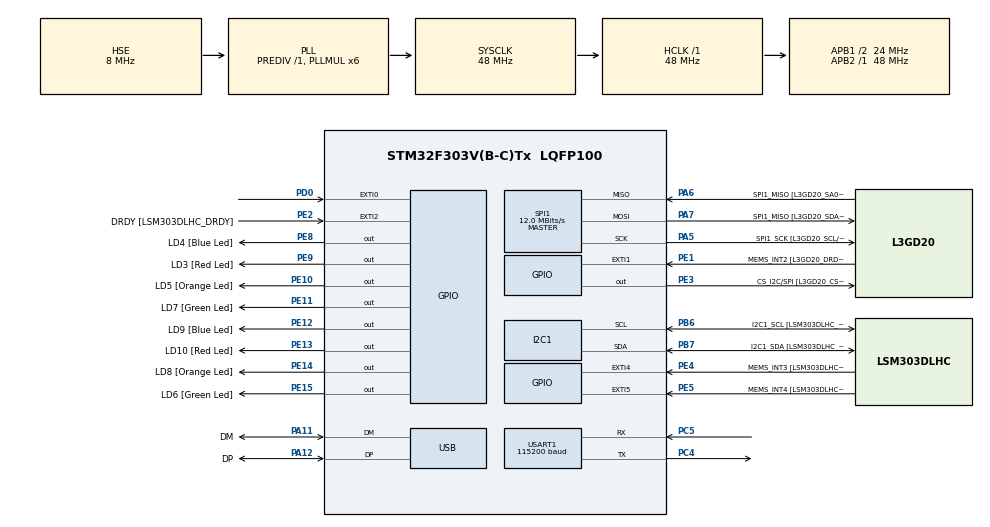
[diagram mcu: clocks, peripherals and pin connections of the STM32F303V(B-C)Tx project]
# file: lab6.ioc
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I2C1.Timing=0x00201D2B
I2C1.Timing-I2C=0x2000090E
Mcu.Family=STM32F3
Mcu.Name=STM32F303V(B-C)Tx
Mcu.Package=LQFP100
NVIC.EXTI0_IRQn=true\:0\:0\:false\:false\:true\:true\:true\:true
NVIC.PriorityGroup=NVIC_PRIORITYGROUP_0
NVIC.TIM2_IRQn=true\:0\:0\:false\:false\:true\:true\:true\:true
PA11.GPIO_Label=DM
PA11.Mode=Device
PA11.Signal=USB_DM
PA12.GPIO_Label=DP
PA12.Mode=Device
PA12.Signal=USB_DP
PA13.GPIO_Label=SWDIO
PA13.Mode=Serial_Wire
PA13.Signal=SYS_JTMS-SWDIO
PA14.GPIO_Label=SWCLK
PA14.Mode=Serial_Wire
PA14.Signal=SYS_JTCK-SWCLK
PA5.GPIO_Label=SPI1_SCK [L3GD20_SCL/SPC]
PA5.Mode=Full_Duplex_Master
PA5.Signal=SPI1_SCK
PA6.GPIO_Label=SPI1_MISO [L3GD20_SA0/SDO]
PA6.Mode=Full_Duplex_Master
PA6.Signal=SPI1_MISO
PA7.GPIO_Label=SPI1_MISO [L3GD20_SDA/SDI/SDO]
PA7.Mode=Full_Duplex_Master
PA7.Signal=SPI1_MOSI
PB3.GPIO_Label=SWO
PB3.Signal=SYS_JTDO-TRACESWO
PB6.GPIO_Label=I2C1_SCL [LSM303DLHC_SCL]
PB6.GPIO_Pu=GPIO_PULLUP
PB6.Mode=I2C
PB6.Signal=I2C1_SCL
PB7.GPIO_Label=I2C1_SDA [LSM303DLHC_SDA]
PB7.GPIO_Pu=GPIO_PULLUP
PB7.Mode=I2C
PB7.Signal=I2C1_SDA
PC14-OSC32_IN.GPIO_Label=OSC32_IN
PC14-OSC32_IN.Signal=RCC_OSC32_IN
PC15-OSC32_OUT.GPIO_Label=OSC32_OUT
PC15-OSC32_OUT.Signal=RCC_OSC32_OUT
PC4.Mode=Asynchronous
PC4.Signal=USART1_TX
PC5.Mode=Asynchronous
PC5.Signal=USART1_RX
PD0.Signal=GPXTI0
PE1.GPIO_Label=MEMS_INT2 [L3GD20_DRDY/INT2]
PE1.GPIO_ModeDefaultEXTI=GPIO_MODE_EVT_RISING
PE1.Signal=GPXTI1
PE10.GPIO_Label=LD5 [Orange Led]
PE10.Signal=GPIO_Output
PE11.GPIO_Label=LD7 [Green Led]
PE11.Signal=GPIO_Output
PE12.GPIO_Label=LD9 [Blue Led]
PE12.Signal=GPIO_Output
PE13.GPIO_Label=LD10 [Red Led]
PE13.Signal=GPIO_Output
PE14.GPIO_Label=LD8 [Orange Led]
PE14.Signal=GPIO_Output
PE15.GPIO_Label=LD6 [Green Led]
PE15.Signal=GPIO_Output
PE2.GPIO_Label=DRDY [LSM303DLHC_DRDY]
PE2.GPIO_ModeDefaultEXTI=GPIO_MODE_EVT_RISING
PE2.Signal=GPXTI2
PE3.GPIO_Label=CS_I2C/SPI [L3GD20_CS_I2C/SPI]
PE3.Signal=GPIO_Output
PE4.GPIO_Label=MEMS_INT3 [LSM303DLHC_INT1]
PE4.GPIO_ModeDefaultEXTI=GPIO_MODE_EVT_RISING
PE4.Signal=GPXTI4
PE5.GPIO_Label=MEMS_INT4 [LSM303DLHC_INT2]
PE5.GPIO_ModeDefaultEXTI=GPIO_MODE_EVT_RISING
PE5.Signal=GPXTI5
PE8.GPIO_Label=LD4 [Blue Led]
PE8.Signal=GPIO_Output
PE9.GPIO_Label=LD3 [Red Led]
PE9.Signal=GPIO_Output
PF0-OSC_IN.GPIO_Label=OSC_IN
PF0-OSC_IN.Mode=HSE-External-Clock-Source
PF0-OSC_IN.Signal=RCC_OSC_IN
PF1-OSC_OUT.GPIO_Label=OSC_OUT
PF1-OSC_OUT.Signal=RCC_OSC_OUT
ProjectManager.HeapSize=0x200
ProjectManager.StackSize=0x400
ProjectManager.TargetToolchain=CMake
RCC.AHBFreq_Value=48000000
RCC.APB1CLKDivider=RCC_HCLK_DIV2
RCC.APB1Freq_Value=24000000
RCC.APB1TimFreq_Value=48000000
RCC.APB2Freq_Value=48000000
RCC.APB2TimFreq_Value=48000000
RCC.CortexFreq_Value=48000000
RCC.HCLKFreq_Value=48000000
RCC.HSE_VALUE=8000000
RCC.HSI_VALUE=8000000
RCC.LSE_VALUE=32768
RCC.PLLMUL=RCC_PLL_MUL6
RCC.SYSCLKFreq_VALUE=48000000
RCC.SYSCLKSourceVirtual=RCC_SYSCLKSOURCE_PLLCLK
RCC.USBFreq_Value=48000000
SPI1.BaudRatePrescaler=SPI_BAUDRATEPRESCALER_4
SPI1.BaudRatePrescaler-Full_Duplex_Master=SPI_BAUDRATEPRESCALER_2
SPI1.CalculateBaudRate=12.0 MBits/s
SPI1.CalculateBaudRate-Full_Duplex_Master=24.0 MBits/s
SPI1.Direction=SPI_DIRECTION_2LINES
SPI1.Mode=SPI_MODE_MASTER
SPI1.Mode-Full_Duplex_Master=SPI_MODE_MASTER
SPI1.VirtualType=VM_MASTER
TIM2.Prescaler=9
USART1.BaudRate=115200
USART1.VirtualMode-Asynchronous=VM_ASYNC
VP_TIM2_VS_ClockSourceINT.Mode=Internal
board=STM32F3DISCOVERY

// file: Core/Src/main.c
/* USER CODE BEGIN Header */
/**
  ******************************************************************************
  * @file           : main.c
  * @brief          : Main program body
  ******************************************************************************
  * @attention
  *
  * Copyright (c) 2026 STMicroelectronics.
  * All rights reserved.
  *
  * This software is licensed under terms that can be found in the LICENSE file
  * in the root directory of this software component.
  * If no LICENSE file comes with this software, it is provided AS-IS.
  *
  ******************************************************************************
  */
/* USER CODE END Header */
#include "main.h"
#include <stdio.h>

I2C_HandleTypeDef hi2c1;

SPI_HandleTypeDef hspi1;

TIM_HandleTypeDef htim2;

UART_HandleTypeDef huart1;

PCD_HandleTypeDef hpcd_USB_FS;

/* USER CODE BEGIN PV */

#define SAMPLES 10
#define NUMERATOR 4800000.0f

volatile uint32_t cap[SAMPLES];
volatile uint8_t idx = 0;
volatile uint8_t started = 0;
volatile uint8_t print_flag = 0;

uint32_t last_check = 0;

// // Global variables added so you can view them in the STM32CubeIDE Debugger
// volatile uint32_t debug_avg_period = 0;
// volatile uint32_t debug_frequency = 0;
// volatile uint32_t debug_error_margin = 0;

/* USER CODE END PV */

void SystemClock_Config(void);
static void MX_GPIO_Init(void);
static void MX_I2C1_Init(void);
static void MX_SPI1_Init(void);
static void MX_TIM2_Init(void);
static void MX_USB_PCD_Init(void);
static void MX_USART1_UART_Init(void);

/* USER CODE BEGIN 0 */

extern UART_HandleTypeDef huart1; // dumbass

int _write(int file, char *ptr, int len)
{
    HAL_UART_Transmit(&huart1, (uint8_t *)ptr, len, HAL_MAX_DELAY);
    return len;
}

/* External Interrupt Callback */
void HAL_GPIO_EXTI_Callback(uint16_t GPIO_Pin)
{
    if (GPIO_Pin == GPIO_PIN_0)
    {
        if (started == 0)
        {
            __HAL_TIM_SET_COUNTER(&htim2, 0);

            HAL_TIM_Base_Start(&htim2);

            started = 1;
        }
        else
        {
            cap[idx] = __HAL_TIM_GET_COUNTER(&htim2);

            idx++;

            if (idx >= SAMPLES)
            {
                idx = 0;
                print_flag = 1;

                HAL_TIM_Base_Stop(&htim2);

                started = 0;
            }
            else
            {
                __HAL_TIM_SET_COUNTER(&htim2, 0);
            }
        }
    }
}

/* USER CODE END 0 */

int main(void)
{

  /* MCU Configuration--------------------------------------------------------*/

  /* Reset of all peripherals, Initializes the Flash interface and the Systick. */
  HAL_Init();

  /* Configure the system clock */
  SystemClock_Config();

  /* Initialize all configured peripherals */
  MX_GPIO_Init();
  MX_I2C1_Init();
  MX_SPI1_Init();
  MX_TIM2_Init();
  MX_USB_PCD_Init();
  MX_USART1_UART_Init();

  /* Infinite loop */
  while (1)
  {

    /* USER CODE BEGIN 3 */
    //printf("lalala");
    if (HAL_GetTick() - last_check >= 100)
    {
        last_check = HAL_GetTick();

        if (print_flag)
        {
            uint64_t sum = 0;

            for (int i = 0; i < SAMPLES; i++)
            {
                sum += cap[i];
            }

            uint32_t avg_period =
                (float)sum / (float)SAMPLES;

            /* f = (48 x 10^6) / (average period) */

            uint32_t f =
                NUMERATOR / avg_period;

            printf("avg_period=%lu, f=%lu Hz\r\n",
                      avg_period,
                      f);

            print_flag = 0;
        }
    }

  }
  /* USER CODE END 3 */
}

void SystemClock_Config(void)
{
  RCC_OscInitTypeDef RCC_OscInitStruct = {0};
  RCC_ClkInitTypeDef RCC_ClkInitStruct = {0};
  RCC_PeriphCLKInitTypeDef PeriphClkInit = {0};

  /** Initializes the RCC Oscillators according to the specified parameters
  * in the RCC_OscInitTypeDef structure.
  */
  RCC_OscInitStruct.OscillatorType = RCC_OSCILLATORTYPE_HSI|RCC_OSCILLATORTYPE_HSE;
  RCC_OscInitStruct.HSEState = RCC_HSE_BYPASS;
  RCC_OscInitStruct.HSEPredivValue = RCC_HSE_PREDIV_DIV1;
  RCC_OscInitStruct.HSIState = RCC_HSI_ON;
  RCC_OscInitStruct.HSICalibrationValue = RCC_HSICALIBRATION_DEFAULT;
  RCC_OscInitStruct.PLL.PLLState = RCC_PLL_ON;
  RCC_OscInitStruct.PLL.PLLSource = RCC_PLLSOURCE_HSE;
  RCC_OscInitStruct.PLL.PLLMUL = RCC_PLL_MUL6;
  if (HAL_RCC_OscConfig(&RCC_OscInitStruct) != HAL_OK)
  {
    Error_Handler();
  }

  /** Initializes the CPU, AHB and APB buses clocks
  */
  RCC_ClkInitStruct.ClockType = RCC_CLOCKTYPE_HCLK|RCC_CLOCKTYPE_SYSCLK
                              |RCC_CLOCKTYPE_PCLK1|RCC_CLOCKTYPE_PCLK2;
  RCC_ClkInitStruct.SYSCLKSource = RCC_SYSCLKSOURCE_PLLCLK;
  RCC_ClkInitStruct.AHBCLKDivider = RCC_SYSCLK_DIV1;
  RCC_ClkInitStruct.APB1CLKDivider = RCC_HCLK_DIV2;
  RCC_ClkInitStruct.APB2CLKDivider = RCC_HCLK_DIV1;

  if (HAL_RCC_ClockConfig(&RCC_ClkInitStruct, FLASH_LATENCY_1) != HAL_OK)
  {
    Error_Handler();
  }
  PeriphClkInit.PeriphClockSelection = RCC_PERIPHCLK_USB|RCC_PERIPHCLK_USART1
                              |RCC_PERIPHCLK_I2C1;
  PeriphClkInit.Usart1ClockSelection = RCC_USART1CLKSOURCE_PCLK2;
  PeriphClkInit.I2c1ClockSelection = RCC_I2C1CLKSOURCE_HSI;
  PeriphClkInit.USBClockSelection = RCC_USBCLKSOURCE_PLL;
  if (HAL_RCCEx_PeriphCLKConfig(&PeriphClkInit) != HAL_OK)
  {
    Error_Handler();
  }
}

static void MX_I2C1_Init(void)
{

  hi2c1.Instance = I2C1;
  hi2c1.Init.Timing = 0x00201D2B;
  hi2c1.Init.OwnAddress1 = 0;
  hi2c1.Init.AddressingMode = I2C_ADDRESSINGMODE_7BIT;
  hi2c1.Init.DualAddressMode = I2C_DUALADDRESS_DISABLE;
  hi2c1.Init.OwnAddress2 = 0;
  hi2c1.Init.OwnAddress2Masks = I2C_OA2_NOMASK;
  hi2c1.Init.GeneralCallMode = I2C_GENERALCALL_DISABLE;
  hi2c1.Init.NoStretchMode = I2C_NOSTRETCH_DISABLE;
  if (HAL_I2C_Init(&hi2c1) != HAL_OK)
  {
    Error_Handler();
  }

  /** Configure Analogue filter
  */
  if (HAL_I2CEx_ConfigAnalogFilter(&hi2c1, I2C_ANALOGFILTER_ENABLE) != HAL_OK)
  {
    Error_Handler();
  }

  /** Configure Digital filter
  */
  if (HAL_I2CEx_ConfigDigitalFilter(&hi2c1, 0) != HAL_OK)
  {
    Error_Handler();
  }

}

static void MX_SPI1_Init(void)
{

  /* SPI1 parameter configuration*/
  hspi1.Instance = SPI1;
  hspi1.Init.Mode = SPI_MODE_MASTER;
  hspi1.Init.Direction = SPI_DIRECTION_2LINES;
  hspi1.Init.DataSize = SPI_DATASIZE_4BIT;
  hspi1.Init.CLKPolarity = SPI_POLARITY_LOW;
  hspi1.Init.CLKPhase = SPI_PHASE_1EDGE;
  hspi1.Init.NSS = SPI_NSS_SOFT;
  hspi1.Init.BaudRatePrescaler = SPI_BAUDRATEPRESCALER_4;
  hspi1.Init.FirstBit = SPI_FIRSTBIT_MSB;
  hspi1.Init.TIMode = SPI_TIMODE_DISABLE;
  hspi1.Init.CRCCalculation = SPI_CRCCALCULATION_DISABLE;
  hspi1.Init.CRCPolynomial = 7;
  hspi1.Init.CRCLength = SPI_CRC_LENGTH_DATASIZE;
  hspi1.Init.NSSPMode = SPI_NSS_PULSE_ENABLE;
  if (HAL_SPI_Init(&hspi1) != HAL_OK)
  {
    Error_Handler();
  }

}

static void MX_TIM2_Init(void)
{

  TIM_ClockConfigTypeDef sClockSourceConfig = {0};
  TIM_MasterConfigTypeDef sMasterConfig = {0};

  htim2.Instance = TIM2;
  htim2.Init.Prescaler = 9;
  htim2.Init.CounterMode = TIM_COUNTERMODE_UP;
  htim2.Init.Period = 4294967295;
  htim2.Init.ClockDivision = TIM_CLOCKDIVISION_DIV1;
  htim2.Init.AutoReloadPreload = TIM_AUTORELOAD_PRELOAD_DISABLE;
  if (HAL_TIM_Base_Init(&htim2) != HAL_OK)
  {
    Error_Handler();
  }
  sClockSourceConfig.ClockSource = TIM_CLOCKSOURCE_INTERNAL;
  if (HAL_TIM_ConfigClockSource(&htim2, &sClockSourceConfig) != HAL_OK)
  {
    Error_Handler();
  }
  sMasterConfig.MasterOutputTrigger = TIM_TRGO_RESET;
  sMasterConfig.MasterSlaveMode = TIM_MASTERSLAVEMODE_DISABLE;
  if (HAL_TIMEx_MasterConfigSynchronization(&htim2, &sMasterConfig) != HAL_OK)
  {
    Error_Handler();
  }

}

static void MX_USART1_UART_Init(void)
{

  huart1.Instance = USART1;
  huart1.Init.BaudRate = 115200;
  huart1.Init.WordLength = UART_WORDLENGTH_8B;
  huart1.Init.StopBits = UART_STOPBITS_1;
  huart1.Init.Parity = UART_PARITY_NONE;
  huart1.Init.Mode = UART_MODE_TX_RX;
  huart1.Init.HwFlowCtl = UART_HWCONTROL_NONE;
  huart1.Init.OverSampling = UART_OVERSAMPLING_16;
  huart1.Init.OneBitSampling = UART_ONE_BIT_SAMPLE_DISABLE;
  huart1.AdvancedInit.AdvFeatureInit = UART_ADVFEATURE_NO_INIT;
  if (HAL_UART_Init(&huart1) != HAL_OK)
  {
    Error_Handler();
  }

}

static void MX_USB_PCD_Init(void)
{

  hpcd_USB_FS.Instance = USB;
  hpcd_USB_FS.Init.dev_endpoints = 8;
  hpcd_USB_FS.Init.speed = PCD_SPEED_FULL;
  hpcd_USB_FS.Init.phy_itface = PCD_PHY_EMBEDDED;
  hpcd_USB_FS.Init.low_power_enable = DISABLE;
  hpcd_USB_FS.Init.battery_charging_enable = DISABLE;
  if (HAL_PCD_Init(&hpcd_USB_FS) != HAL_OK)
  {
    Error_Handler();
  }

}

static void MX_GPIO_Init(void)
{
  GPIO_InitTypeDef GPIO_InitStruct = {0};

  /* GPIO Ports Clock Enable */
  __HAL_RCC_GPIOE_CLK_ENABLE();
  __HAL_RCC_GPIOC_CLK_ENABLE();
  __HAL_RCC_GPIOF_CLK_ENABLE();
  __HAL_RCC_GPIOA_CLK_ENABLE();
  __HAL_RCC_GPIOD_CLK_ENABLE();
  __HAL_RCC_GPIOB_CLK_ENABLE();

  /*Configure GPIO pin Output Level */
  HAL_GPIO_WritePin(GPIOE, CS_I2C_SPI_Pin|LD4_Pin|LD3_Pin|LD5_Pin
                          |LD7_Pin|LD9_Pin|LD10_Pin|LD8_Pin
                          |LD6_Pin, GPIO_PIN_RESET);

  /*Configure GPIO pins : DRDY_Pin MEMS_INT3_Pin MEMS_INT4_Pin MEMS_INT2_Pin */
  GPIO_InitStruct.Pin = DRDY_Pin|MEMS_INT3_Pin|MEMS_INT4_Pin|MEMS_INT2_Pin;
  GPIO_InitStruct.Mode = GPIO_MODE_EVT_RISING;
  GPIO_InitStruct.Pull = GPIO_NOPULL;
  HAL_GPIO_Init(GPIOE, &GPIO_InitStruct);

  /*Configure GPIO pins : CS_I2C_SPI_Pin LD4_Pin LD3_Pin LD5_Pin
                           LD7_Pin LD9_Pin LD10_Pin LD8_Pin
                           LD6_Pin */
  GPIO_InitStruct.Pin = CS_I2C_SPI_Pin|LD4_Pin|LD3_Pin|LD5_Pin
                          |LD7_Pin|LD9_Pin|LD10_Pin|LD8_Pin
                          |LD6_Pin;
  GPIO_InitStruct.Mode = GPIO_MODE_OUTPUT_PP;
  GPIO_InitStruct.Pull = GPIO_NOPULL;
  GPIO_InitStruct.Speed = GPIO_SPEED_FREQ_LOW;
  HAL_GPIO_Init(GPIOE, &GPIO_InitStruct);

  /*Configure GPIO pin : PD0 */
  GPIO_InitStruct.Pin = GPIO_PIN_0;
  GPIO_InitStruct.Mode = GPIO_MODE_IT_RISING;
  GPIO_InitStruct.Pull = GPIO_NOPULL;
  HAL_GPIO_Init(GPIOD, &GPIO_InitStruct);

  /* EXTI interrupt init*/
  HAL_NVIC_SetPriority(EXTI0_IRQn, 0, 0);
  HAL_NVIC_EnableIRQ(EXTI0_IRQn);

}

void Error_Handler(void)
{
  __disable_irq();
  while (1)
  {
  }
}
